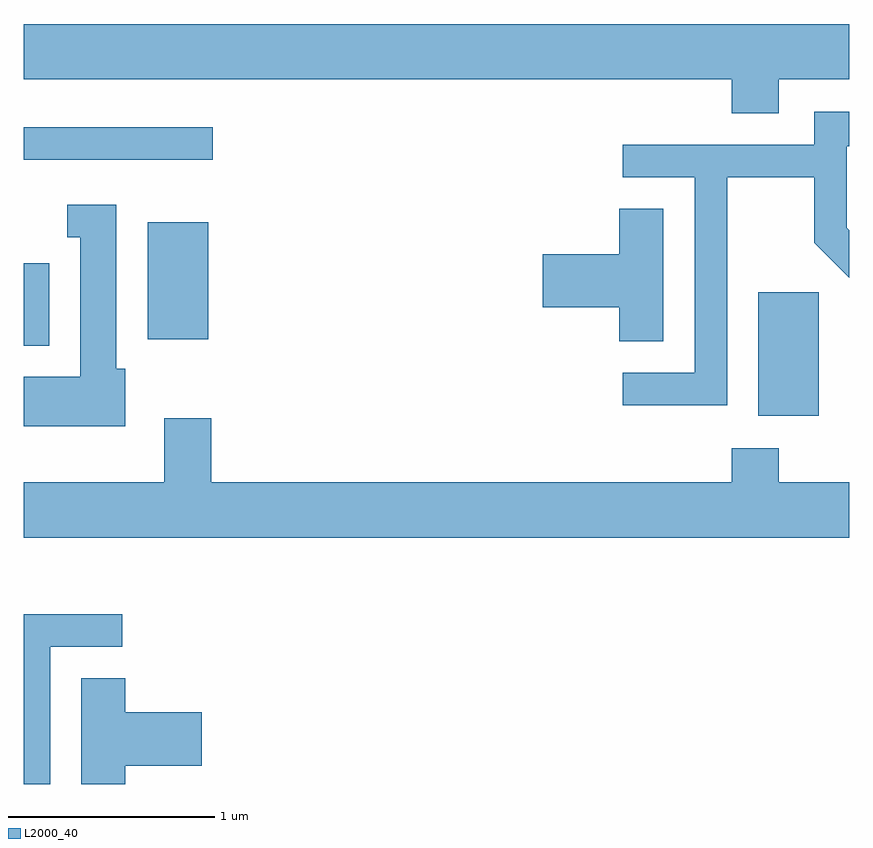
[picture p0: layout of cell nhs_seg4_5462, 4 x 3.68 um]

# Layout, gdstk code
import gdstk
lib = gdstk.Library(unit=1e-6, precision=1e-09)
def R(c, l, rs):  # rectangles x0, y0, x1, y1
    for r in rs: c.add(gdstk.rectangle(r[:2], r[2:], *l))
def P(c, l, *ps):  # polygons
    for p in ps: c.add(gdstk.Polygon(p, *l))
L2000_40 = (2000, 40)

nhs_seg4_5462 = lib.new_cell('nhs_seg4_5462')
R(nhs_seg4_5462, L2000_40, [(349.171,1299.766,349.464,1300.364), (345.611,1300.106,345.734,1300.504), (346.211,1300.136,346.504,1300.704), (345.611,1301.006,346.528,1301.164)])
P(nhs_seg4_5462, L2000_40, [(349.269,1301.396),(349.611,1301.396),(349.611,1301.664),(345.611,1301.664),(345.611,1301.396),(349.041,1301.396),(349.041,1301.231),(349.269,1301.231)],
  [(349.019,1300.921),(349.441,1300.921),(349.441,1300.604),(349.611,1300.434),(349.611,1300.665),(349.599,1300.677),(349.599,1301.071),(349.611,1301.071),(349.611,1301.239),(349.441,1301.239),(349.441,1301.079),(348.513,1301.079),(348.513,1300.921),(348.861,1300.921),(348.861,1299.974),(348.513,1299.974),(348.513,1299.816),(349.019,1299.816)],
  [(346.104,1299.994),(346.059,1299.994),(346.059,1300.789),(345.823,1300.789),(345.823,1300.631),(345.886,1300.631),(345.886,1299.954),(345.611,1299.954),(345.611,1299.716),(346.104,1299.716)],
  [(348.709,1300.769),(348.496,1300.769),(348.496,1300.549),(348.126,1300.549),(348.126,1300.291),(348.496,1300.291),(348.496,1300.126),(348.709,1300.126)],
  [(349.611,1299.444),(349.269,1299.444),(349.269,1299.609),(349.041,1299.609),(349.041,1299.444),(346.519,1299.444),(346.519,1299.754),(346.291,1299.754),(346.291,1299.444),(345.611,1299.444),(345.611,1299.176),(349.611,1299.176)],
  [(345.739,1298.646),(346.088,1298.646),(346.088,1298.804),(345.611,1298.804),(345.611,1297.982),(345.739,1297.982)],
  [(346.104,1298.071),(346.474,1298.071),(346.474,1298.329),(346.104,1298.329),(346.104,1298.494),(345.891,1298.494),(345.891,1297.982),(346.104,1297.982)])

lib.write_gds('nhs_seg4_5462.gds')
